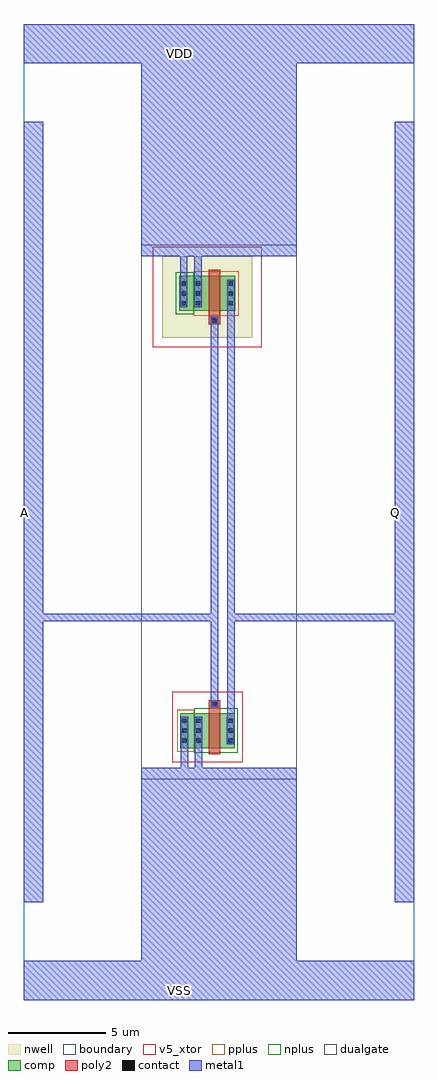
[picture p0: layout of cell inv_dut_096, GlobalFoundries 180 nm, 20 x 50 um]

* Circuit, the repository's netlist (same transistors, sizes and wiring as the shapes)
* inv_dut_096: pfet_05v0 W=1.80u L=0.60u / nfet_05v0 W=1.80u L=0.60u
.SUBCKT inv_dut_096 A Q VDD VSS
MMP Q A VDD VDD pfet_05v0 W=1.80u L=0.60u
MMN Q A VSS VSS nfet_05v0 W=1.80u L=0.60u
.ENDS

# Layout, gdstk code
import gdstk
lib = gdstk.Library(unit=1e-6, precision=1e-09)
def R(c, l, rs):  # rectangles x0, y0, x1, y1
    for r in rs: c.add(gdstk.rectangle(r[:2], r[2:], *l))
def A(c, l, x, y, w, h, nx, ny, dx, dy):  # array of equal rectangles
    R(c, l, [(x+i*dx, y+j*dy, x+i*dx+w, y+j*dy+h) for i in range(nx) for j in range(ny)])
boundary = (0, 0)
nwell = (21, 0)
comp = (22, 0)
poly2 = (30, 0)
pplus = (31, 0)
nplus = (32, 0)
contact = (33, 0)
metal1 = (34, 0)
dualgate = (55, 0)
v5_xtor = (112, 1)

inv_dut_096 = lib.new_cell('inv_dut_096')
R(inv_dut_096, boundary, [(-10,-25,10,25)])
R(inv_dut_096, nwell, [(-2.895,8.93,1.695,13.09)])
R(inv_dut_096, comp, [(-1.975,-12.1,0.795,-10.3), (-2.035,10.3,0.835,12.1)])
R(inv_dut_096, poly2, [(-0.535,-12.4,0.065,-9.64), (-0.535,9.62,0.065,12.4)])
R(inv_dut_096, pplus, [(-2.145,-12.27,-1.265,-10.13), (-1.305,10.06,1.005,12.34)])
R(inv_dut_096, nplus, [(-1.265,-12.34,0.965,-10.06), (-2.205,10.13,-1.305,12.27)])
A(inv_dut_096, contact, -1.875, -11.82, 0.22, 0.22, 1, 3, 0, 0.51)
A(inv_dut_096, contact, -1.165, -11.82, 0.22, 0.22, 1, 3, 0, 0.51)
A(inv_dut_096, contact, 0.475, -11.82, 0.22, 0.22, 1, 3, 0, 0.51)
A(inv_dut_096, contact, -1.915, 10.58, 0.22, 0.22, 1, 3, 0, 0.51)
A(inv_dut_096, contact, -1.185, 10.58, 0.22, 0.22, 1, 3, 0, 0.51)
A(inv_dut_096, contact, 0.495, 10.58, 0.22, 0.22, 1, 3, 0, 0.51)
R(inv_dut_096, contact, [(-0.345,-9.93,-0.125,-9.71), (-0.345,9.7,-0.125,9.92)])
R(inv_dut_096, metal1, [(-10,-25,10,-23), (-3.995,-23,3.995,-13.4), (-10,-20,-9,20), (9,-20,10,20), (-3.995,-13.7,3.995,-13.1), (-1.955,-13.7,-1.575,-10.5), (-1.245,-13.7,-0.865,-10.5), (-1.955,-11.9,-1.575,-10.5), (-1.245,-11.9,-0.865,-10.5), (0.395,-11.9,0.775,-10.5), (0.395,-10.88,0.795,-10.5), (0.415,-10.88,0.795,10.88), (-0.425,-10.01,-0.045,10), (-0.425,-10.01,-0.045,-9.63), (-9,-5.6,-3.695,-5.2), (-3.995,-5.6,-0.045,-5.2), (0.415,-5.6,3.995,-5.2), (3.695,-5.6,9,-5.2), (-0.425,9.62,-0.045,10), (-1.995,10.5,-1.615,13.7), (-1.995,10.5,-1.615,11.9), (-1.265,10.5,-0.885,13.7), (-1.265,10.5,-0.885,11.9), (0.415,10.5,0.795,10.88), (0.415,10.5,0.795,11.9), (-3.995,13.1,3.995,13.7), (-3.995,13.4,3.995,23), (-10,23,10,25)])
R(inv_dut_096, dualgate, [(-3.995,-13.7,3.995,13.7), (-2.395,-12.81,1.215,-9.22), (-3.395,8.43,2.195,13.59)])
R(inv_dut_096, v5_xtor, [(-2.395,-12.81,1.215,-9.22), (-3.395,8.43,2.195,13.59)])
inv_dut_096.add(gdstk.Label('VDD', (-2,23.5), layer=34, texttype=10))
inv_dut_096.add(gdstk.Label('VSS', (-2,-24.5), layer=34, texttype=10))
inv_dut_096.add(gdstk.Label('A', (-9.97,0), layer=34, texttype=10))
inv_dut_096.add(gdstk.Label('Q', (9.03,0), layer=34, texttype=10))

lib.write_gds('inv_dut_096.gds')
